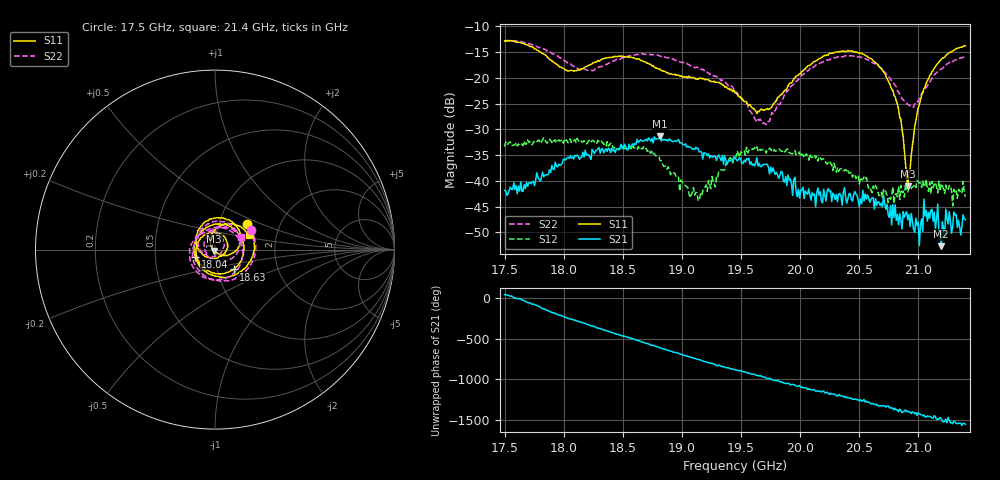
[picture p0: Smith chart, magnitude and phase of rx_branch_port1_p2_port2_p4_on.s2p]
!Created with skrf (http://scikit-rf.org).
# GHz S RI R 50.0
!freq ReS11 ImS11 ReS21 ImS21 ReS12 ImS12 ReS22 ImS22
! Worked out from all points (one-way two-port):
!   401 points, 17.5 GHz to 21.4 GHz, reference 50 ohm
!   highest |S21| = -31.33 dB at 18.82 GHz (marker M1); lowest = -52.7 dB at 21.2 GHz (marker M2)
!   lowest |S11| = -41.0 dB at 20.91 GHz (marker M3), VSWR 1.02, Z = 49.4 - j0.691 ohm
!   |S11| at or under -10 dB: start of sweep to end of sweep
!   |S22| runs from -29.1 to -12.8 dB; largest |S21 - S12| = 0.023
!   S11 on the Smith chart (normalised r, x): 17.5 GHz: 1.37, +0.41; 18.04 GHz: 0.80, -0.06; 18.63 GHz: 1.20, -0.27; 21.4 GHz: 1.43, +0.25
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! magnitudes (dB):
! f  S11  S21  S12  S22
! 17.5 GHz  -12.8  -41.9  -33.4  -12.8
! 18.04 GHz  -18.7  -35.4  -32.6  -17.2
! 18.15 GHz  -18.3  -35.4  -32.4  -18.5
! 18.63 GHz  -16.4  -32.5  -33.4  -15.5
! 18.81 GHz  -18.3  -31.8  -35.3  -15.7
! 18.82 GHz  -18.3  -31.3  -36.1  -15.8
! 19.15 GHz  -20.1  -34.4  -43.8  -18.1
! 19.45 GHz  -22.9  -35.6  -35.8  -22.3
! 19.7 GHz  -26.2  -36.8  -33.9  -28.9
! 20.1 GHz  -17.2  -42.3  -35.5  -18.3
! 20.49 GHz  -15.2  -43.8  -39.0  -15.9
! 20.72 GHz  -19.1  -44.5  -41.8  -18.9
! 20.76 GHz  -21.0  -47.1  -43.3  -19.9
! 20.83 GHz  -26.0  -48.5  -41.0  -22.7
! 20.91 GHz  -41.0  -47.5  -42.2  -25.2
! 21.02 GHz  -24.3  -48.5  -40.4  -23.5
! 21.07 GHz  -21.1  -45.8  -39.8  -21.9
! 21.15 GHz  -17.8  -49.2  -40.3  -19.3
! 21.2 GHz  -16.5  -52.7  -40.5  -18.3
! 21.25 GHz  -15.4  -48.4  -41.8  -17.2
! 21.35 GHz  -14.1  -48.9  -41.9  -16.2
! 21.4 GHz  -13.8  -47.5  -43.1  -15.9
